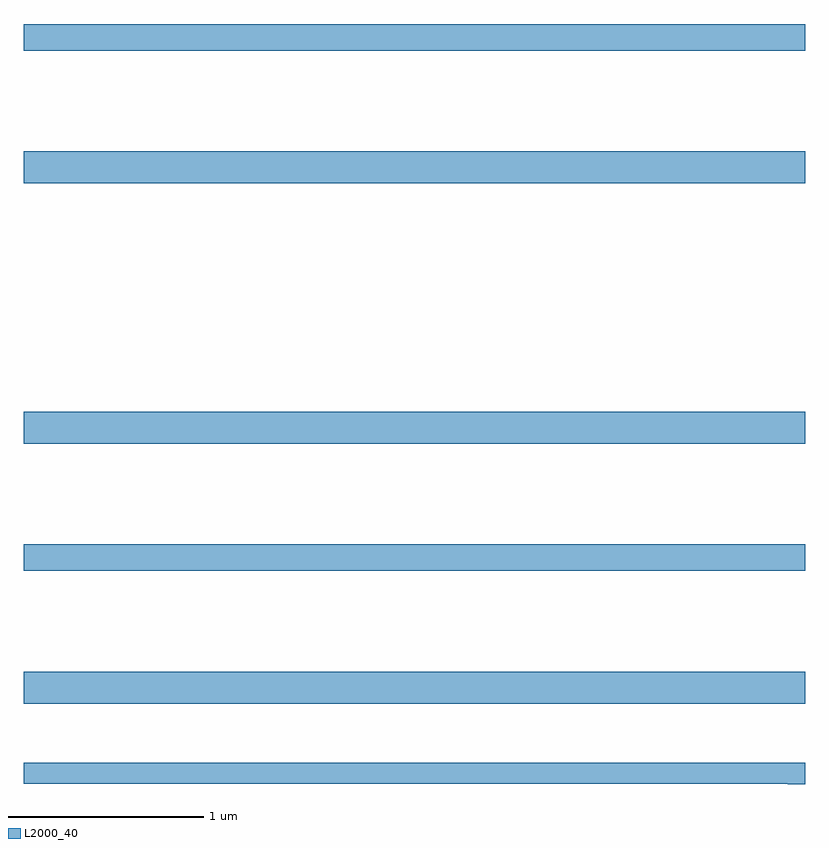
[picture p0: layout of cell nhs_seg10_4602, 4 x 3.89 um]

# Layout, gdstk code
import gdstk
lib = gdstk.Library(unit=1e-6, precision=1e-09)
def R(c, l, rs):  # rectangles x0, y0, x1, y1
    for r in rs: c.add(gdstk.rectangle(r[:2], r[2:], *l))
def A(c, l, x, y, w, h, nx, ny, dx, dy):  # array of equal rectangles
    R(c, l, [(x+i*dx, y+j*dy, x+i*dx+w, y+j*dy+h) for i in range(nx) for j in range(ny)])
def P(c, l, *ps):  # polygons
    for p in ps: c.add(gdstk.Polygon(p, *l))
L2000_40 = (2000, 40)

nhs_seg10_4602 = lib.new_cell('nhs_seg10_4602')
A(nhs_seg10_4602, L2000_40, 373, 1322.96, 4, 0.164, 1, 3, 0, 1.332)
R(nhs_seg10_4602, L2000_40, [(373,1323.64,377,1323.776), (373,1326.304,377,1326.44)])
P(nhs_seg10_4602, L2000_40, [(377,1322.659),(373,1322.659),(373,1322.55),(376.912,1322.55),(376.912,1322.549),(377,1322.549)])

lib.write_gds('nhs_seg10_4602.gds')
